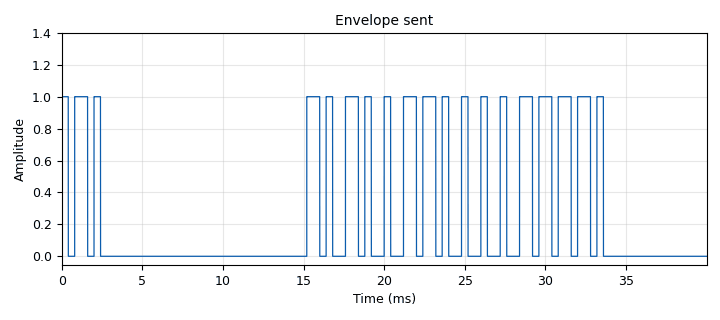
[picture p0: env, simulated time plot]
options:
  parameters:
    author: ECE 448
    description: 'L17: the Simulated fan remote encoder on a PlutoSDR at 915.04 MHz, never on the remote''s own 350 MHz. Transmit into the cable: Pluto TX port, inline 30 dB attenuator, a second PlutoSDR running L17-capture.grc at fc = 915e6. Or, if your instructor says so, over the air at 915 MHz at low power. TX attenuation stays at 30 dB or more. Needs a PlutoSDR.'
    generate_options: qt_gui
    id: L17_fan_tx_pluto
    output_language: python
    title: L17 - Fan Remote Encoder on a PlutoSDR
  states: {}

blocks:
- name: addr
  id: variable
  parameters:
    value: '0xA6'
  states: {}
- name: bits
  id: variable
  parameters:
    value: '[(word >> (15 - i)) & 1 for i in range(16)]'
  states: {}
- name: button
  id: variable_qtgui_chooser
  parameters:
    gui_hint: 0,0,1,2
    label: Button
    label0: Light
    label1: Fan Off
    label2: Low
    label3: Medium
    label4: High
    num_opts: '5'
    option0: '1'
    option1: '2'
    option2: '3'
    option3: '4'
    option4: '5'
    orient: Qt.QHBoxLayout
    type: int
    value: '1'
    widget: radio_buttons
  states: {}
- name: chip_len
  id: variable
  parameters:
    value: '400'
  states: {}
- name: gap_chips
  id: variable
  parameters:
    value: '30'
  states: {}
- name: samp_rate
  id: variable
  parameters:
    value: '1000000'
  states: {}
- name: tx_atten
  id: variable_qtgui_range
  parameters:
    gui_hint: 1,0,1,2
    label: TX attenuation (dB)
    min_len: '300'
    start: '30'
    step: '1'
    stop: '89'
    value: '60'
  states: {}
- name: word
  id: variable
  parameters:
    value: addr << 8 | button << 4 | (button ^ 0xF)
  states: {}
- name: c2f
  id: blocks_char_to_float
  parameters:
    scale: '1'
  states: {}
- name: carrier
  id: analog_sig_source_x
  parameters:
    amp: '1'
    freq: '40000'
    offset: '0'
    phase: '0'
    samp_rate: samp_rate
    type: complex
    waveform: analog.GR_COS_WAVE
  states: {}
- name: chip_map
  id: digital_map_bb
  parameters:
    map: '[4, 6]'
  states: {}
- name: env
  id: qtgui_time_sink_x
  parameters:
    grid: 'True'
    gui_hint: 2,0,1,2
    legend: 'False'
    name: '"Envelope sent"'
    size: '40000'
    srate: samp_rate
    tr_delay: '0.002'
    tr_level: '0.5'
    tr_mode: qtgui.TRIG_MODE_NORM
    type: float
    ymax: '1.4'
    ymin: '0'
  states: {}
- name: f2c
  id: blocks_float_to_complex
  parameters: {}
  states: {}
- name: mag
  id: blocks_complex_to_mag
  parameters: {}
  states: {}
- name: mult
  id: blocks_multiply_xx
  parameters:
    type: complex
  states: {}
- name: mux
  id: blocks_stream_mux
  parameters:
    lengths: '[48*chip_len, gap_chips*chip_len]'
    type: float
  states: {}
- name: pluto_tx
  id: iio_pluto_sink
  parameters:
    attenuation1: tx_atten
    bandwidth: '200000'
    buffer_size: '32768'
    cyclic: 'False'
    filter_source: '''Auto'''
    frequency: int(915e6)
    len_tag_key: ''''''
    samplerate: int(samp_rate)
    type: fc32
    uri: '"ip:192.168.2.1"'
  states: {}
- name: rep
  id: blocks_repeat
  parameters:
    interp: chip_len
    type: float
  states: {}
- name: scale
  id: blocks_multiply_const_vxx
  parameters:
    const: '0.5'
    type: complex
  states: {}
- name: unpack
  id: blocks_unpack_k_bits_bb
  parameters:
    k: '3'
  states: {}
- name: vsrc
  id: blocks_vector_source_x
  parameters:
    repeat: 'True'
    type: byte
    vector: bits
  states: {}
- name: zero
  id: analog_const_source_x
  parameters:
    const: '0'
    type: float
  states: {}

connections:
- [c2f, '0', rep, '0']
- [carrier, '0', mult, '1']
- [chip_map, '0', unpack, '0']
- [f2c, '0', mult, '0']
- [mag, '0', env, '0']
- [mult, '0', mag, '0']
- [mult, '0', scale, '0']
- [mux, '0', f2c, '0']
- [rep, '0', mux, '0']
- [scale, '0', pluto_tx, '0']
- [unpack, '0', c2f, '0']
- [vsrc, '0', chip_map, '0']
- [zero, '0', mux, '1']

metadata:
  file_format: 1
  grc_version: 3.10.9.2
